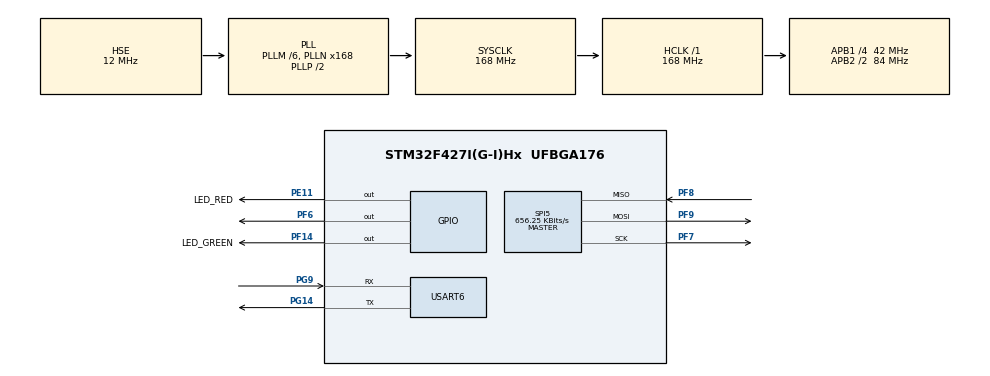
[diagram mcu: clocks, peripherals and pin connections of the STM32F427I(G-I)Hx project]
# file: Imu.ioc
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Mcu.Family=STM32F4
Mcu.Name=STM32F427I(G-I)Hx
Mcu.Package=UFBGA176
NVIC.PriorityGroup=NVIC_PRIORITYGROUP_4
NVIC.USART6_IRQn=true\:0\:0\:false\:false\:true\:true\:true\:true
PA13.Mode=Serial_Wire
PA13.Signal=SYS_JTMS-SWDIO
PA14.Mode=Serial_Wire
PA14.Signal=SYS_JTCK-SWCLK
PE11.GPIO_Label=LED_RED
PE11.Signal=GPIO_Output
PF14.GPIO_Label=LED_GREEN
PF14.Signal=GPIO_Output
PF6.Signal=GPIO_Output
PF7.Mode=Full_Duplex_Master
PF7.Signal=SPI5_SCK
PF8.Mode=Full_Duplex_Master
PF8.Signal=SPI5_MISO
PF9.Mode=Full_Duplex_Master
PF9.Signal=SPI5_MOSI
PG14.Mode=Asynchronous
PG14.Signal=USART6_TX
PG9.Mode=Asynchronous
PG9.Signal=USART6_RX
PH0/OSC_IN.Mode=HSE-External-Oscillator
PH0/OSC_IN.Signal=RCC_OSC_IN
PH1/OSC_OUT.Mode=HSE-External-Oscillator
PH1/OSC_OUT.Signal=RCC_OSC_OUT
ProjectManager.HeapSize=0x200
ProjectManager.StackSize=0x400
ProjectManager.TargetToolchain=Makefile
RCC.48MHZClocksFreq_Value=84000000
RCC.AHBFreq_Value=168000000
RCC.APB1CLKDivider=RCC_HCLK_DIV4
RCC.APB1Freq_Value=42000000
RCC.APB1TimFreq_Value=84000000
RCC.APB2CLKDivider=RCC_HCLK_DIV2
RCC.APB2Freq_Value=84000000
RCC.APB2TimFreq_Value=168000000
RCC.CortexFreq_Value=168000000
RCC.HCLKFreq_Value=168000000
RCC.HSE_VALUE=12000000
RCC.HSI_VALUE=16000000
RCC.LSE_VALUE=32768
RCC.PLLM=6
RCC.PLLN=168
RCC.PLLSourceVirtual=RCC_PLLSOURCE_HSE
RCC.SYSCLKFreq_VALUE=168000000
RCC.SYSCLKSource=RCC_SYSCLKSOURCE_PLLCLK
RCC.VCOOutputFreq_Value=336000000
SPI5.BaudRatePrescaler=SPI_BAUDRATEPRESCALER_128
SPI5.CalculateBaudRate=656.25 KBits/s
SPI5.Direction=SPI_DIRECTION_2LINES
SPI5.Mode=SPI_MODE_MASTER
SPI5.VirtualType=VM_MASTER
USART6.VirtualMode=VM_ASYNC
board=Imu

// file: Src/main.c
/**
  ******************************************************************************
  * @file           : main.c
  * @brief          : Main program body
  ******************************************************************************
  ** This notice applies to any and all portions of this file
  * that are not between comment pairs USER CODE BEGIN and
  * USER CODE END. Other portions of this file, whether
  * inserted by the user or by software development tools
  * are owned by their respective copyright owners.
  *
  * COPYRIGHT(c) 2022 STMicroelectronics
  *
  * Redistribution and use in source and binary forms, with or without modification,
  * are permitted provided that the following conditions are met:
  *   1. Redistributions of source code must retain the above copyright notice,
  *      this list of conditions and the following disclaimer.
  *   2. Redistributions in binary form must reproduce the above copyright notice,
  *      this list of conditions and the following disclaimer in the documentation
  *      and/or other materials provided with the distribution.
  *   3. Neither the name of STMicroelectronics nor the names of its contributors
  *      may be used to endorse or promote products derived from this software
  *      without specific prior written permission.
  *
  * THIS SOFTWARE IS PROVIDED BY THE COPYRIGHT HOLDERS AND CONTRIBUTORS "AS IS"
  * AND ANY EXPRESS OR IMPLIED WARRANTIES, INCLUDING, BUT NOT LIMITED TO, THE
  * IMPLIED WARRANTIES OF MERCHANTABILITY AND FITNESS FOR A PARTICULAR PURPOSE ARE
  * DISCLAIMED. IN NO EVENT SHALL THE COPYRIGHT HOLDER OR CONTRIBUTORS BE LIABLE
  * FOR ANY DIRECT, INDIRECT, INCIDENTAL, SPECIAL, EXEMPLARY, OR CONSEQUENTIAL
  * DAMAGES (INCLUDING, BUT NOT LIMITED TO, PROCUREMENT OF SUBSTITUTE GOODS OR
  * SERVICES; LOSS OF USE, DATA, OR PROFITS; OR BUSINESS INTERRUPTION) HOWEVER
  * CAUSED AND ON ANY THEORY OF LIABILITY, WHETHER IN CONTRACT, STRICT LIABILITY,
  * OR TORT (INCLUDING NEGLIGENCE OR OTHERWISE) ARISING IN ANY WAY OUT OF THE USE
  * OF THIS SOFTWARE, EVEN IF ADVISED OF THE POSSIBILITY OF SUCH DAMAGE.
  *
  ******************************************************************************
  */
#include "main.h"
#include "stm32f4xx_hal.h"
#include "spi.h"
#include "usart.h"
#include "gpio.h"

/* USER CODE BEGIN Includes */
#include "bsp_imu.h"
/* USER CODE END Includes */

/* USER CODE BEGIN PV */
/* Private variables ---------------------------------------------------------*/
extern UART_HandleTypeDef huart6;
extern imu_t              imu;
char buf[300];
int count;
/* USER CODE END PV */

void SystemClock_Config(void);

/* USER CODE BEGIN PFP */
/* Private function prototypes -----------------------------------------------*/

/* USER CODE END PFP */

int main(void)
{

  /* MCU Configuration----------------------------------------------------------*/

  /* Reset of all peripherals, Initializes the Flash interface and the Systick. */
  HAL_Init();

  /* Configure the system clock */
  SystemClock_Config();

  /* Initialize all configured peripherals */
  MX_GPIO_Init();
  MX_SPI5_Init();
  MX_USART6_UART_Init();
  /* USER CODE BEGIN 2 */
	led_off();
	mpu_device_init();
	init_quaternion();
  /* USER CODE END 2 */

  /* Infinite loop */
  while (1)
  {

  /* USER CODE BEGIN 3 */
	mpu_get_data();
	imu_ahrs_update();
	imu_attitude_update();
	HAL_Delay(5);
	sprintf(buf, " Roll: %8.3lf    Pitch: %8.3lf    Yaw: %8.3lf\n", imu.rol, imu.pit, imu.yaw);
	HAL_UART_Transmit(&huart6, (uint8_t *)buf, (COUNTOF(buf)-1), 55);
	HAL_Delay(5);

	if (count==50)
	{
		HAL_GPIO_TogglePin(GPIOF, LED_GREEN_Pin);
		count=0;
	}

  }
  /* USER CODE END 3 */

}

void SystemClock_Config(void)
{

  RCC_OscInitTypeDef RCC_OscInitStruct;
  RCC_ClkInitTypeDef RCC_ClkInitStruct;

    /**Configure the main internal regulator output voltage
    */
  __HAL_RCC_PWR_CLK_ENABLE();

  __HAL_PWR_VOLTAGESCALING_CONFIG(PWR_REGULATOR_VOLTAGE_SCALE1);

    /**Initializes the CPU, AHB and APB busses clocks
    */
  RCC_OscInitStruct.OscillatorType = RCC_OSCILLATORTYPE_HSE;
  RCC_OscInitStruct.HSEState = RCC_HSE_ON;
  RCC_OscInitStruct.PLL.PLLState = RCC_PLL_ON;
  RCC_OscInitStruct.PLL.PLLSource = RCC_PLLSOURCE_HSE;
  RCC_OscInitStruct.PLL.PLLM = 6;
  RCC_OscInitStruct.PLL.PLLN = 168;
  RCC_OscInitStruct.PLL.PLLP = RCC_PLLP_DIV2;
  RCC_OscInitStruct.PLL.PLLQ = 4;
  if (HAL_RCC_OscConfig(&RCC_OscInitStruct) != HAL_OK)
  {
    _Error_Handler(__FILE__, __LINE__);
  }

    /**Initializes the CPU, AHB and APB busses clocks
    */
  RCC_ClkInitStruct.ClockType = RCC_CLOCKTYPE_HCLK|RCC_CLOCKTYPE_SYSCLK
                              |RCC_CLOCKTYPE_PCLK1|RCC_CLOCKTYPE_PCLK2;
  RCC_ClkInitStruct.SYSCLKSource = RCC_SYSCLKSOURCE_PLLCLK;
  RCC_ClkInitStruct.AHBCLKDivider = RCC_SYSCLK_DIV1;
  RCC_ClkInitStruct.APB1CLKDivider = RCC_HCLK_DIV4;
  RCC_ClkInitStruct.APB2CLKDivider = RCC_HCLK_DIV2;

  if (HAL_RCC_ClockConfig(&RCC_ClkInitStruct, FLASH_LATENCY_5) != HAL_OK)
  {
    _Error_Handler(__FILE__, __LINE__);
  }

    /**Configure the Systick interrupt time
    */
  HAL_SYSTICK_Config(HAL_RCC_GetHCLKFreq()/1000);

    /**Configure the Systick
    */
  HAL_SYSTICK_CLKSourceConfig(SYSTICK_CLKSOURCE_HCLK);

  /* SysTick_IRQn interrupt configuration */
  HAL_NVIC_SetPriority(SysTick_IRQn, 0, 0);
}

void _Error_Handler(char *file, int line)
{
  while(1)
  {
  }
}

/************************ (C) COPYRIGHT STMicroelectronics *****END OF FILE****/
